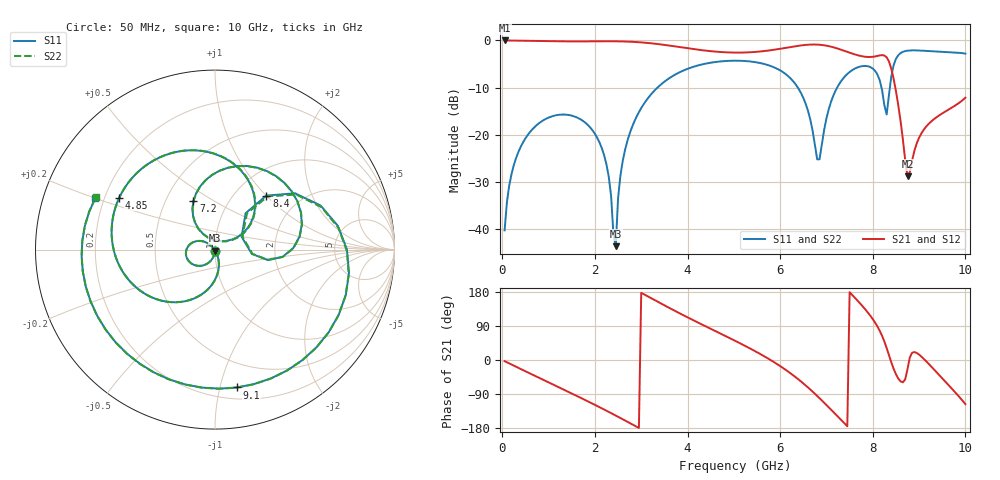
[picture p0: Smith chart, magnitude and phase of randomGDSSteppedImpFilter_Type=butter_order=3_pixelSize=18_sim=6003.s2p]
! freq	dB(S11)	phase(S11)	dB(S12)	phase(S12)
!  dB(S21)	phase(S21)	dB(S22)	phase(S22)
!S-par simulation data
#  GHz  S  DB  R 50
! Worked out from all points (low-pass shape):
!   200 points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, 50 MHz to 10 GHz, reference 50 ohm
!   highest |S21| = 0.00 dB at 50 MHz (marker M1); lowest = -28.8 dB at 8.75 GHz (marker M2)
!   |S21| within 3 dB of the highest: start of sweep to 7.629 GHz
!   lowest |S11| = -43.5 dB at 2.45 GHz (marker M3), VSWR 1.01, Z = 50.1 - j0.658 ohm
!   |S11| at or under -10 dB: start of sweep to 3.349 GHz; 6.383 GHz to 7.23 GHz (847.8 MHz wide, 12.5 % of centre); 8.189 GHz to 8.37 GHz (180.9 MHz wide, 2.19 % of centre)
!   |S22| runs from -43.7 to -2.1 dB; largest |S21 - S12| = 0
!   S11 on the Smith chart (normalised r, x): 50 MHz: 1.00, -0.02; 4.85 GHz: 0.26, +0.24; 7.2 GHz: 0.69, +0.41; 8.4 GHz: 1.38, +1.00; 9.1 GHz: 0.29, -1.13; 10 GHz: 0.17, +0.20
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0.05  -40.21 -92.6  -0.00 -3.0  -0.00 -3.0  -40.21 -92.6
0.2  -28.24 -101.9  -0.03 -12.0  -0.03 -12.0  -28.25 -101.9
0.55  -20.01 -122.9  -0.08 -32.7  -0.08 -32.7  -20.01 -123.0
1.75  -17.09 166.6  -0.21 -103.2  -0.21 -103.2  -17.09 166.5
2.2  -24.34 140.5  -0.18 -130.7  -0.18 -130.7  -24.34 140.1
2.45  -43.55 -81.2  -0.18 -146.6  -0.18 -146.6  -43.75 -77.9
2.55  -28.68 -68.0  -0.20 -153.1  -0.20 -153.1  -28.69 -67.5
2.7  -21.31 -75.5  -0.24 -162.9  -0.24 -162.9  -21.31 -75.3
3.4  -9.54 -120.3  -0.82 150.8  -0.82 150.8  -9.54 -120.3
4.85  -4.34 151.5  -2.52 61.4  -2.52 61.4  -4.34 151.3
5.05  -4.29 139.6  -2.58 49.3  -2.58 49.3  -4.29 139.4
6.05  -6.64 72.3  -1.69 -20.1  -1.69 -20.1  -6.65 71.8
6.7  -19.06 30.4  -0.86 -83.3  -0.86 -83.3  -19.13 29.0
6.85  -25.16 96.8  -0.91 -100.7  -0.91 -100.7  -25.50 97.2
7.2  -10.56 113.9  -1.59 -143.4  -1.59 -143.4  -10.58 113.9
8.05  -6.44 8.8  -3.39 98.7  -3.39 98.7  -6.43 8.6
8.35  -11.53 49.9  -4.47 12.8  -4.47 12.8  -11.42 48.6
8.4  -7.63 46.4  -5.99 -6.0  -5.99 -6.0  -7.58 45.3
8.75  -2.17 -27.6  -28.78 -24.0  -28.78 -24.0  -2.16 -28.3
9.1  -2.18 -81.0  -18.90 3.2  -18.90 3.2  -2.18 -81.6
9.6  -2.47 -150.6  -14.85 -61.4  -14.85 -61.4  -2.46 -150.9
10  -2.79 156.7  -12.12 -116.4  -12.12 -116.4  -2.79 156.4
